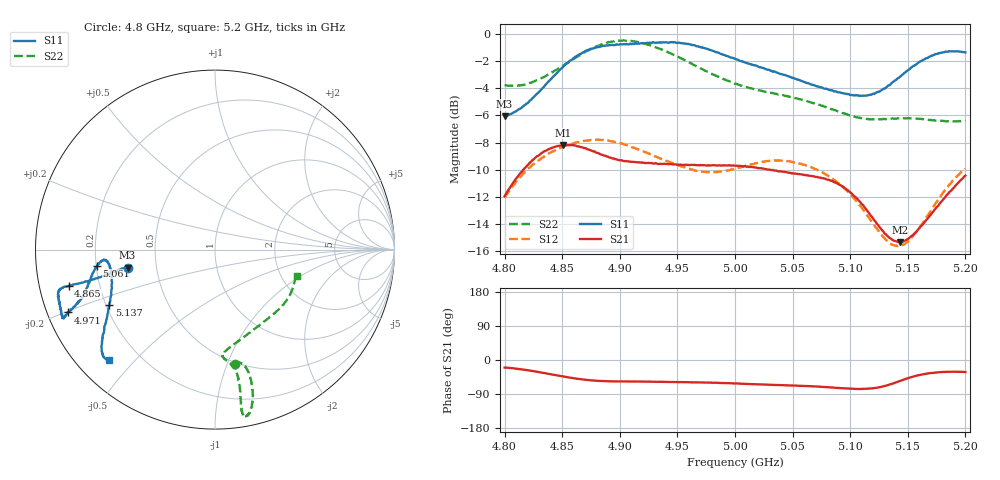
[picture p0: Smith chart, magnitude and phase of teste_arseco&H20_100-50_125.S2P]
! Network Analyzer HP8722D
! Hewlett-Packard
! Data name: Linha & Wilkinson
! Saver's name: Rodrigo Anjos
! Comments: Teste da utilização de aquisição
! continua pelo VNA HP8722D
! Time and date: 6/5/2025 13:36
!  Frequency  S11  S21  S12  S22
# HZ  S  MA R 50
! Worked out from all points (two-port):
!   401 points, 4.8 GHz to 5.2 GHz, reference 50 ohm
!   highest |S21| = -8.17 dB at 4.851 GHz (marker M1); lowest = -15.3 dB at 5.143 GHz (marker M2)
!   |S21| within 3 dB of the highest: 4.806 GHz to 5.092 GHz (286.6 MHz wide, 5.79 % of centre); 5.191377 GHz to end of sweep
!   lowest |S11| = -6.1 dB at 4.8 GHz (marker M3), VSWR 2.98, Z = 16.9 - j4.54 ohm
!   |S11| at or under -10 dB: nowhere
!   |S22| runs from -6.5 to -0.5 dB; largest |S21 - S12| = 0.62
!   S11 on the Smith chart (normalised r, x): 4.8 GHz: 0.34, -0.09; 4.865 GHz: 0.09, -0.12; 4.971 GHz: 0.06, -0.20; 5.061 GHz: 0.20, -0.07; 5.137 GHz: 0.21, -0.23; 5.2 GHz: 0.09, -0.42
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4.8e9  0.4974 -168.3  0.253 -20.0  0.2498 -141.1  0.6484 -80.3
4.826e9  0.5891 -167.4  0.3485 -30.0  0.3339 -144.8  0.6688 -75.7
4.851e9  0.7572 -166.0  0.3905 -43.7  0.3838 -149.5  0.765 -74.6
4.865e9  0.8402 -166.2  0.3853 -50.2  0.4001 -152.0  0.8326 -75.4
4.867e9  0.8491 -166.0  0.3829 -51.1  0.4025 -152.3  0.8423 -75.5
4.898e9  0.9126 -163.1  0.3445 -56.5  0.3976 -156.6  0.941 -78.9
4.913e9  0.9202 -160.0  0.338 -56.7  0.3806 -157.3  0.9366 -80.3
4.934e9  0.9284 -156.6  0.3321 -57.6  0.3499 -155.8  0.8821 -80.6
4.971e9  0.8896 -156.8  0.3284 -59.4  0.3118 -146.6  0.7437 -79.6
5e9  0.8111 -159.2  0.3274 -62.0  0.3196 -137.4  0.6553 -81.3
5.036e9  0.7209 -165.8  0.3139 -66.1  0.3416 -134.5  0.6013 -85.7
5.061e9  0.6629 -172.2  0.3029 -68.5  0.3295 -136.5  0.568 -84.0
5.067e9  0.6505 -173.1  0.3 -69.3  0.3223 -137.0  0.5576 -82.7
5.086e9  0.6136 -174.6  0.2849 -73.2  0.2905 -138.6  0.5244 -75.2
5.102e9  0.5946 -171.8  0.2568 -76.1  0.2521 -138.9  0.4978 -65.8
5.117e9  0.5963 -165.0  0.217 -75.4  0.2085 -135.0  0.4852 -55.0
5.134e9  0.6469 -154.4  0.1778 -64.9  0.1703 -120.6  0.4866 -43.3
5.137e9  0.6636 -152.5  0.1742 -62.1  0.1676 -116.7  0.4884 -41.4
5.143e9  0.6937 -149.5  0.1713 -55.6  0.166 -108.7  0.4894 -38.0
5.154e9  0.7572 -144.6  0.1815 -44.4  0.1797 -95.0  0.4885 -32.2
5.173e9  0.8363 -139.1  0.225 -33.3  0.2336 -81.0  0.4814 -24.4
5.2e9  0.8539 -133.9  0.3012 -31.7  0.3194 -77.1  0.4778 -17.7
